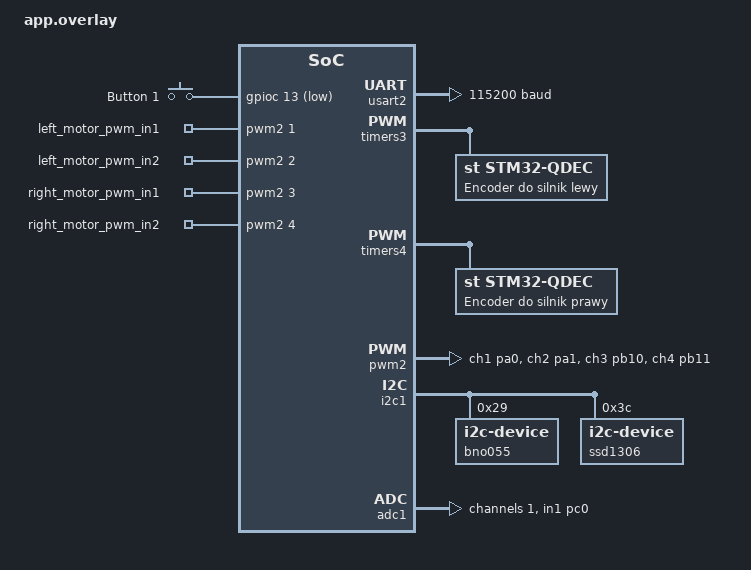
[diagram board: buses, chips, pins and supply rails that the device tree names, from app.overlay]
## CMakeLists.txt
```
cmake_minimum_required(VERSION 3.20)

#list(APPEND ZEPHYR_EXTRA_MODULES "/home/kubekpc/zephyrproject/modules/lib/micro_ros_zephyr_module/modules/libmicroros")

find_package(Zephyr REQUIRED HINTS $ENV{ZEPHYR_BASE})
project(lidar_robot_firmware)

target_include_directories(app PRIVATE include)


target_sources(app PRIVATE
    src/main.c
    # src/shared_data.h
    # src/task_motors.c
    # src/task_motors.h
    # src/task_imu.c
    # src/imu.c
    # src/imu.h
    # src/task_microros.c
    src/task_screen.c
    src/led_screen.c
    src/ringbuff.c
   
)

#target_link_libraries(app PRIVATE microros)
```

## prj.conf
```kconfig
# Podstawowa obsługa sprzętu (GPIO, PWM, I2C, Enkodery/Sensory)
CONFIG_GPIO=y
CONFIG_PWM=y
CONFIG_SENSOR=y
CONFIG_I2C=y

# Obsługa UART i bufora dla micro-ROS (KRYTYCZNE: obsługa przerwana UART)
CONFIG_SERIAL=y
CONFIG_UART_INTERRUPT_DRIVEN=y
CONFIG_RING_BUFFER=y

# Pamięć sterty (KRYTYCZNE: micro-ROS wymaga alokacji dynamicznej dla DDS)
CONFIG_HEAP_MEM_POOL_SIZE=16384

# Wymagana obsługa POSIX dla micro-ROS
# CONFIG_POSIX_API=y
# CONFIG_POSIX_CLOCK=y
# CONFIG_PTHREAD_IPC=y

# Wymagana obsługa konstruktorów GNU przez bibliotekę micro-ROS
CONFIG_STATIC_INIT_GNU=y

# Moduł micro-ROS
# CONFIG_MICROROS=y

# Formatowanie zmiennoprzecinkowych (float) w Libc
# CONFIG_NEWLIB_LIBC=y
CONFIG_CBPRINTF_FP_SUPPORT=y

# Wyłączenie konsoli Zephyra (aby nie zakłócać transmisji szeregowej micro-ROS)
CONFIG_CONSOLE=y
CONFIG_UART_CONSOLE=y
CONFIG_BOOT_BANNER=n
CONFIG_PRINTK=y

# Stos i pamięć wątków
CONFIG_MAIN_STACK_SIZE=8192
CONFIG_SYSTEM_WORKQUEUE_STACK_SIZE=4096
```

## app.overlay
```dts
/{

    chosen {
        zephyr,micro-ros-uart = &usart2;
    };

    aliases {
        pwm-left-in1 = &left_motor_pwm_in1;
        pwm-left-in2 = &left_motor_pwm_in2;
        pwm-right-in1 = &right_motor_pwm_in1;
        pwm-right-in2 = &right_motor_pwm_in2;
        encoder-left = &qdec_l;
        encoder-right = &qdec_r;
        imu = &bno055;
        screen = &ssd1306;

    };



    gpio_keys {
        compatible = "gpio-keys";
        button1: button1 {
            gpios = <&gpioc 13 GPIO_ACTIVE_LOW>;
            label = "Button 1";
            // linux,code = <28>;
        };
    };

    pwm_motors {

        compatible = "pwm-leds";

    left_motor_pwm_in1: left_in1 {
        pwms = <&pwm2 1 100000 PWM_POLARITY_NORMAL>;
    };

    left_motor_pwm_in2: left_in2 {
        pwms = <&pwm2 2 100000 PWM_POLARITY_NORMAL>;
    };

    right_motor_pwm_in1: right_in1 {
        pwms = <&pwm2 3 100000 PWM_POLARITY_NORMAL>;
    };

    right_motor_pwm_in2: right_in2 {
        pwms = <&pwm2 4 100000 PWM_POLARITY_NORMAL>;
    };
};
};

&usart2 {
    status = "okay";
    current-speed = <115200>;
};

&timers3 {
    status = "okay";

    pwm {
        status = "disabled";
    };

    qdec_l: encoder_left {
        compatible = "st,stm32-qdec";
        status = "okay";
        pinctrl-0 = <&tim3_ch1_pa6 &tim3_ch2_pa7>;
        pinctrl-names = "default";
        st,counts-per-revolution = <660>;
        label = "Encoder do silnik lewy";
    };
};
&timers4 {
    status = "okay";

    pwm {
        status = "disabled";
    };
    qdec_r: encoder_right {
        compatible = "st,stm32-qdec";
        status = "okay";
        pinctrl-0 = <&tim4_ch1_pb6 &tim4_ch2_pb7>;
        pinctrl-names = "default";
        st,counts-per-revolution = <660>;
        label = "Encoder do silnik prawy";
    };
};


&pwm2 {
    status = "okay";
    pinctrl-0 = <&tim2_ch1_pa0 &tim2_ch2_pa1 &tim2_ch3_pb10 &tim2_ch4_pb11>;
    pinctrl-names = "default";
};

&i2c1 {

    status = "okay";

    bno055: bno055@28 {
        compatible = "i2c-device";
        status = "okay";
        reg = <0x29>;
    };

    ssd1306: ssd1306@3c {
        compatible = "i2c-device";
        status = "okay";
        reg = <0x3C>;
    };

};

// posprawdzaj
&adc1 {
    status = "okay";
    pinctrl-0 = <&adc1_in1_pc0>;
    pinctrl-names = "default";

    #address-cells = <1>;
    #size-cells = <0>;

    adc_battery: channel@1 {
        reg = <1>;
        zephyr,gain = "ADC_GAIN_1";
        zephyr,reference = "ADC_REF_INTERNAL";
        zephyr,acquisition-time = <ADC_ACQ_TIME_DEFAULT>;
        zephyr,resolution = <12>;
    };
};


&spi1 {
    status = "disabled";
};

    &pinctrl {

    tim3_ch1_pa6: tim3_ch1_pa6 {
        bias-pull-up;
    };
    tim3_ch2_pa7: tim3_ch2_pa7 {
        bias-pull-up;
    };


    tim4_ch1_pb6: tim4_ch1_pb6 {
        bias-pull-up;
    };
    tim4_ch2_pb7: tim4_ch2_pb7 {
        bias-pull-up;
    };
};
```

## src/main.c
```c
#include <zephyr/kernel.h>
#include <zephyr/drivers/gpio.h>
#include <zephyr/drivers/pwm.h>
#include <zephyr/drivers/sensor.h>
#include <zephyr/devicetree.h>
#include <zephyr/drivers/i2c.h>
#include "shared_data.h"

//aliasy


const struct pwm_dt_spec pwm_left_in1 = PWM_DT_SPEC_GET(DT_ALIAS(pwm_left_in1));
const struct pwm_dt_spec pwm_left_in2 = PWM_DT_SPEC_GET(DT_ALIAS(pwm_left_in2));
const struct pwm_dt_spec pwm_right_in1 = PWM_DT_SPEC_GET(DT_ALIAS(pwm_right_in1));
const struct pwm_dt_spec pwm_right_in2 = PWM_DT_SPEC_GET(DT_ALIAS(pwm_right_in2));

 const struct device *const encoder_left = DEVICE_DT_GET(DT_ALIAS(encoder_left));
 const struct device *const encoder_right = DEVICE_DT_GET(DT_ALIAS(encoder_right));
 const struct i2c_dt_spec imu = I2C_DT_SPEC_GET(DT_ALIAS(imu));
 const struct i2c_dt_spec screen = I2C_DT_SPEC_GET(DT_ALIAS(screen));



 atomic_t robot_state = ATOMIC_INIT(STATE_OKAY); // inicjalizujemy stan poczatkowy robotaja na ok;

static const struct gpio_dt_spec led = GPIO_DT_SPEC_GET(DT_ALIAS(led0), gpios);

int main(void)
{
    // if (!pwm_is_ready_dt(&pwm_left_in1) || 
    // !pwm_is_ready_dt(&pwm_left_in2) || 
    // !pwm_is_ready_dt(&pwm_right_in1) || 
    // !pwm_is_ready_dt(&pwm_right_in2) || 
    // !device_is_ready(encoder_left) || 
    // !device_is_ready(encoder_right) || 
    // !i2c_is_ready_dt(&imu) || 
    // !i2c_is_ready_dt(&screen)) {

        
        return 0;
    }

    
  
   



//     return 0;
// }
```

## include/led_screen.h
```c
#ifndef LED_SCREEN_H
#define LED_SCREEN_H

#include <zephyr/drivers/i2c.h>
#include <stdint.h>
#include <stdbool.h>
#include <stddef.h>


typedef struct {
    struct i2c_dt_spec dev_i2c;
    uint8_t buffer[1024];
} ssd1306_t;


bool ssd1306_init(ssd1306_t *display);
void ssd1306_clear(ssd1306_t *display);
void ssd1306_update(ssd1306_t *display);
void ssd1306_draw_pixel(ssd1306_t *display, int x, int y, bool color);
void ssd1306_draw_string(ssd1306_t *display, int x, int y, const char *str,uint8_t scale);
void ssd1306_draw_bitmap(ssd1306_t *display, int x, int y, int w, int h, const uint8_t *bitmap);
void ssd1306_fill_rect(ssd1306_t *display, int x, int y, int width, int height);
void ssd1306_clear_area(ssd1306_t *display, int x, int y, uint8_t length, uint8_t width);
#endif
```

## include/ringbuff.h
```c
#include <stdbool.h>

#define BUFFER_SIZE 50

typedef struct
{
    int* rd_ptr;
    int* wr_ptr;
    int  arr[BUFFER_SIZE];
    bool is_full;
    int  sum;
} RingBuf;

void ring_buff_init(RingBuf *rb);
void ring_buff_write(RingBuf *rb, int value);
int avg_ring_buff(RingBuf *rb);
```

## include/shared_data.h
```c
#define V_MIN 3300
#define V_MAX 4200


typedef struct {
    float v_left_mps;  // predkosc lewego kola w metrach na sekunde
    float v_right_mps; // predkosc prawego kola w metrach na sekunde
    int32_t timestamp_ms;     // czas w milisekundach od uruchomienia programu
    int64_t acumulated_left_encoder_ticks;  // skumulowana liczba tickow z lewego enkodera
    int64_t acumulated_right_encoder_ticks; // skumulowana liczba tickow z prawego enkodera
    float motor_angular_speed;
    float robot_speed_mps;
    } motor_sample_t;


typedef struct {
    float yaw;
    float roll;
    float pitch;
} imu_sample_t;

typedef enum{
    STATE_OKAY = 0,
    STATE_TIPPED,
    STATE_SENSOR_ERROR,
    STATE_ROS_ERROR,
    STATE_MOTOR_FAULT,
    STATE_LOW_BATTERY,//jak dojdzie akus kiedys

} robot_state_t;

typedef struct 
{
   float v_left;
   float v_right;
} ros_data_t;
```

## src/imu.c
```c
#include "imu.h"

#define BNO055_REG_OPR_MODE   0x3D
#define BNO055_MODE_NDOF      0x0C
#define BNO055_REG_CALIB_STAT 0x35
#define BNO055_REG_EULER_BASE 0x1A

extern const struct i2c_dt_spec imu;




bool imu_turn_on(void)
{
 

uint8_t buffer[2] = {BNO055_REG_OPR_MODE, BNO055_MODE_NDOF};
int ret = i2c_write_dt(&imu, buffer, sizeof(buffer));
  if(ret != 0)
  {
    printk("FAILED TO TURN ON IMU\n");
    return false;
  }
  return true;
}

bool imu_if_ready(void)
{
  uint8_t reg_addr = BNO055_REG_CALIB_STAT;
  uint8_t calib_state = 0;

  int ret =  i2c_write_read_dt(&imu,&reg_addr,1, &calib_state, 1);

  if(ret!=0)
  {
    return false;
  }
  //0xFF czyli jesli wszystko dziala gyro,akcelerometr magnetrometr
  if(calib_state < 0xFF)
  {
    return true;
  }
  return false;
  //test
  return true;
}

bool imu_read_data(float *yaw, float *roll,float *pitch)
{
    uint8_t reg_addr = BNO055_REG_EULER_BASE;
    uint8_t data_buff[6] = {0};

    int ret = i2c_write_read_dt(&imu,&reg_addr,1,data_buff,6);

    if(ret !=0)
    {
        printk("FAILED TO WRITE/READ DATA I2C device adress\n");
        return false;
    }

    *yaw   = (float)((int16_t)((data_buff[1] << 8) | data_buff[0]))/16.0f;
    *roll  = (float)((int16_t)((data_buff[3] << 8) | data_buff[2]))/16.0f;
    *pitch = (float)((int16_t)((data_buff[5] << 8) | data_buff[4]))/16.0f;

    return true;
}
```

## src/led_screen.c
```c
#include "led_screen.h"
#include <string.h>

const uint8_t font5x7[][5] = {
    {0x00, 0x00, 0x00, 0x00, 0x00}, // 32: Spacja
    {0x00, 0x00, 0x5F, 0x00, 0x00}, // 33: !
    {0x00, 0x07, 0x00, 0x07, 0x00}, // 34: "
    {0x14, 0x7F, 0x14, 0x7F, 0x14}, // 35: #
    {0x24, 0x2A, 0x7F, 0x2A, 0x12}, // 36: $
    {0x23, 0x13, 0x08, 0x64, 0x62}, // 37: %
    {0x36, 0x49, 0x55, 0x22, 0x50}, // 38: &
    {0x00, 0x05, 0x03, 0x00, 0x00}, // 39: '
    {0x00, 0x1C, 0x22, 0x41, 0x00}, // 40: (
    {0x00, 0x41, 0x22, 0x1C, 0x00}, // 41: )
    {0x14, 0x08, 0x3E, 0x08, 0x14}, // 42: *
    {0x08, 0x08, 0x3E, 0x08, 0x08}, // 43: +
    {0x00, 0x50, 0x30, 0x00, 0x00}, // 44: ,
    {0x08, 0x08, 0x08, 0x08, 0x08}, // 45: -
    {0x00, 0x60, 0x60, 0x00, 0x00}, // 46: .
    {0x20, 0x10, 0x08, 0x04, 0x02}, // 47: /
    {0x3E, 0x51, 0x49, 0x45, 0x3E}, // 48: 0
    {0x00, 0x42, 0x7F, 0x40, 0x00}, // 49: 1
    {0x42, 0x61, 0x51, 0x49, 0x46}, // 50: 2
    {0x21, 0x41, 0x45, 0x4B, 0x31}, // 51: 3
    {0x18, 0x14, 0x12, 0x7F, 0x10}, // 52: 4
    {0x27, 0x45, 0x45, 0x45, 0x39}, // 53: 5
    {0x3C, 0x4A, 0x49, 0x49, 0x30}, // 54: 6
    {0x01, 0x71, 0x09, 0x05, 0x03}, // 55: 7
    {0x36, 0x49, 0x49, 0x49, 0x36}, // 56: 8
    {0x06, 0x49, 0x49, 0x29, 0x1E}, // 57: 9
    {0x00, 0x36, 0x36, 0x00, 0x00}, // 58: :
    {0x00, 0x56, 0x36, 0x00, 0x00}, // 59: ;
    {0x08, 0x14, 0x22, 0x41, 0x00}, // 60: <
    {0x14, 0x14, 0x14, 0x14, 0x14}, // 61: =
    {0x00, 0x41, 0x22, 0x14, 0x08}, // 62: >
    {0x02, 0x01, 0x51, 0x09, 0x06}, // 63: ?
    {0x32, 0x49, 0x79, 0x41, 0x3E}, // 64: @
    {0x7E, 0x11, 0x11, 0x11, 0x7E}, // 65: A
    {0x7F, 0x49, 0x49, 0x49, 0x36}, // 66: B
    {0x3E, 0x41, 0x41, 0x41, 0x22}, // 67: C
    {0x7F, 0x41, 0x41, 0x22, 0x1C}, // 68: D
    {0x7F, 0x49, 0x49, 0x49, 0x41}, // 69: E
    {0x7F, 0x09, 0x09, 0x09, 0x01}, // 70: F
    {0x3E, 0x41, 0x49, 0x49, 0x7A}, // 71: G
    {0x7F, 0x08, 0x08, 0x08, 0x7F}, // 72: H
    {0x00, 0x41, 0x7F, 0x41, 0x00}, // 73: I
    {0x20, 0x40, 0x41, 0x3F, 0x01}, // 74: J
    {0x7F, 0x08, 0x14, 0x22, 0x41}, // 75: K
    {0x7F, 0x40, 0x40, 0x40, 0x40}, // 76: L
    {0x7F, 0x02, 0x0C, 0x02, 0x7F}, // 77: M
    {0x7F, 0x04, 0x08, 0x10, 0x7F}, // 78: N
    {0x3E, 0x41, 0x41, 0x41, 0x3E}, // 79: O
    {0x7F, 0x09, 0x09, 0x09, 0x06}, // 80: P
    {0x3E, 0x41, 0x51, 0x21, 0x5E}, // 81: Q
    {0x7F, 0x09, 0x19, 0x29, 0x46}, // 82: R
    {0x46, 0x49, 0x49, 0x49, 0x31}, // 83: S
    {0x01, 0x01, 0x7F, 0x01, 0x01}, // 84: T
    {0x3F, 0x40, 0x40, 0x40, 0x3F}, // 85: U
    {0x1F, 0x20, 0x40, 0x20, 0x1F}, // 86: V
    {0x3F, 0x40, 0x38, 0x40, 0x3F}, // 87: W
    {0x63, 0x14, 0x08, 0x14, 0x63}, // 88: X
    {0x07, 0x08, 0x70, 0x08, 0x07}, // 89: Y
    {0x61, 0x51, 0x49, 0x45, 0x43}  // 90: Z
};

static void write_command(ssd1306_t *display, uint8_t cmd)
{
    uint8_t data_pack[2] = {0x00, cmd};
    i2c_write_dt(&display->dev_i2c, data_pack, 2);
}

static void write_data(ssd1306_t *display, uint8_t* data, size_t len)
{
    i2c_burst_write_dt(&display->dev_i2c, 0x40, data, len);
}

void ssd1306_clear(ssd1306_t *display)
{
    memset(display->buffer, 0, sizeof(display->buffer));
}

void ssd1306_update(ssd1306_t *display)
{   
    write_command(display, 0x21);
    write_command(display, 0x00);
    write_command(display, 0x7F);


    write_command(display, 0x22);
    write_command(display, 0x00);
    write_command(display, 0x07);

    write_data(display, display->buffer, sizeof(display->buffer));
}

bool ssd1306_init(ssd1306_t *display)
{
    if (!i2c_is_ready_dt(&display->dev_i2c)) {
        return false;
    }

    write_command(display, 0xAE); //Display OFF

    write_command(display, 0xD5); // Ustawienie zegara
    write_command(display, 0x80); // Domyślna wartość

    write_command(display, 0xA8); // rozdzielczość
    write_command(display, 0x3F); //

    write_command(display, 0xD3); // Przesunięcie ekranu
    write_command(display, 0x00); // Brak przesunięcia

    write_command(display, 0x40); // Ustawienie linii startowej na 0

    write_command(display, 0x8D); // Charge Pump
    write_command(display, 0x14); //

    write_command(display, 0x20); // Tryb adresowania pamięci
    write_command(display, 0x00); // 0x00 = Horizontal Addressing Mode
    write_command(display, 0xA1); // Odwrócenie osi X
    write_command(display, 0xC8); // Odwrócenie osi Y
    write_command(display, 0xDA); // Konfiguracja pinów
    write_command(display, 0x12); // 128x64

    write_command(display, 0x81); // Ustawienie kontrastu
    write_command(display, 0xCF);

    write_command(display, 0xD9); // Okres ładowania
    write_command(display, 0xF1);

    write_command(display, 0xDB); //  VCOMH
    write_command(display, 0x40);

    write_command(display, 0xA4); // Używaj zawartości RAMdwyświetlania obrazu
    write_command(display, 0xA6); // Normalny tryb wyświetlania

    // 3. Wyczyszczenie bufora i wysłanie go do ekranu,
    ssd1306_clear(display);
    ssd1306_update(display);

    // 4. włączenie matrycy
    write_command(display, 0xAF); // Włącz ekran (Display ON)
    
    return true;
}

void ssd1306_draw_pixel(ssd1306_t *display, int x, int y, bool color)
{
    if (x < 0 || x >= 128 || y < 0 || y >= 64) {
        return;
    }
    int index = x + (y / 8) * 128;
        
    uint8_t bit = y % 8;

    if (color) {
        display->buffer[index] |= (1 << bit);  
    } else {
        display->buffer[index] &= ~(1 << bit);
    }
}

void ssd1306_draw_string(ssd1306_t *display, int x, int y, const char* str,uint8_t scale)
{
    int current_x = x;
    while(*str != '\0')
    {
        char c = *str;
        
        if(c >= 32 && c <= 90)
        {
            int font_ind = c - 32;

            for(int col = 0; col < 5; col++)
            {
                uint8_t col_data = font5x7[font_ind][col];
                
                for(int row = 0; row < 7; row++)
                {
                    if(col_data & (1<<row)) // kolor
                    {
                        for(uint8_t sx = 0;sx< scale; sx++)
                        {
                            for(uint8_t sy = 0;sy < scale; sy++)
                            {
                                uint8_t pixel_x = current_x + (col * scale) + sx;
                                uint8_t pixel_y = y + (row * scale) + sy;
                        
                            ssd1306_draw_pixel(display, pixel_x, pixel_y, true);
                            }
                        }
                    }
                
                }
            }
            current_x += 6*scale; // 
        }
        str++;
    }
    //iteruje sie bo string wyciagajac chara
 //dopoki w char nie dojde do konca 
 // biore chara i odejmuje od niego 32 zagladam do tablicy 
 // petla w petli x piec razy i wypisuje w kadym przebiegu y jak wypisze juz do konca znak to dodaje do x +1zeby zrobic odstep
}

void ssd1306_draw_bitmap(ssd1306_t *display, int x, int y, int w, int h, const uint8_t* bitmap) 
{
    int byte_width = (w + 7) / 8; 
    
    for (int row = 0; row < h; row++) {
        for (int col = 0; col < w; col++) {
            
            uint8_t data = bitmap[row * byte_width + (col / 8)];
         
            if (data & (1 << (7 - (col % 8)))) {
                ssd1306_draw_pixel(display, x + col, y + row, true);
            } else {
                ssd1306_draw_pixel(display, x + col, y + row, false); 
            }
        }
    }
}

void ssd1306_clear_area(ssd1306_t *display, int x, int y, uint8_t length, uint8_t width)
{
    for(int l = 0;l<length;l++)
    {
        for(int w = 0;w<width;w++)
        {
            ssd1306_draw_pixel(display,x+l,w+y,false);
        }
    }

}

void ssd1306_fill_rect(ssd1306_t *display, int x, int y, int length, int width)
{
    for(int dx=0 ;dx<length; dx++ )
    {
        for(int dy = 0; dy < width; dy++)
        {
            ssd1306_draw_pixel(display, dx + x, y + dy, true);
        }
    }
}
```

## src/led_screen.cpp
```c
#include "led_screen.hpp"
#include <cstring>



 void SD1306::writeCommand(uint8_t cmnd)
 {
    uint8_t data_pack = {0x00 , cmd};
    i2c_read_dt(&dev_i2c,packet,2);
 }

 void SD1306::writeData(uint8_t* data,size_t len)
 {
    uint8_t data_pack = {0x00 , data};
    i2c_burst_write_dt(&dev_i2c, 0x40, data, len);
 }

 void SD1306::clear()
{
    memset(buffer, 0, sizeof(buffer));
}

void SD1306::update()
{
    writeData(buffer, sizeof(buffer));
}

  bool SD1306::init()
  {

      if (!i2c_is_ready_dt(&dev_i2c)) {
        return false; 
    }
   
    writeCommand(0xAE); //Display OFF

    writeCommand(0xD5); // Ustawienie zegara 
    writeCommand(0x80); // Domyślna wartość

    writeCommand(0xA8); // rozdzielczość
    writeCommand(0x3F); //

    writeCommand(0xD3); // Przesunięcie ekranu 
    writeCommand(0x00); // Brak przesunięcia

    writeCommand(0x40); // Ustawienie linii startowej na 0

    writeCommand(0x8D); // Charge Pump
    writeCommand(0x14); // 

    writeCommand(0x20); // Tryb adresowania pamięci 
    writeCommand(0x00); // 0x00 = Horizontal Addressing Mode 
    writeCommand(0xA1); // Odwrócenie osi X 
    writeCommand(0xC8); // Odwrócenie osi Y 
    writeCommand(0xDA); // Konfiguracja pinów 
    writeCommand(0x12); // 128x64

    writeCommand(0x81); // Ustawienie kontrastu
    writeCommand(0xCF); 

    writeCommand(0xD9); // Okres ładowania 
    writeCommand(0xF1);

    writeCommand(0xDB); //  VCOMH
    writeCommand(0x40);

    writeCommand(0xA4); // Używaj zawartości RAMdwyświetlania obrazu
    writeCommand(0xA6); // Normalny tryb wyświetlania 

    // 3. Wyczyszczenie bufora i wysłanie go do ekranu,
    clear();
    update();

    // 4. Finalne włączenie matrycy
    writeCommand(0xAF); // Włącz ekran (Display ON)
    
}

 void SD1306::drawPixel(int x, int y, bool color)
 {

    if (x < 0 || x >= 128 || y < 0 || y >= 64) {
        return; 
    }
    int index = x + (y / 8) * 128;
        
    uint8_t bit = y % 8;

    // 4. Modulo na bitach
    if (color) {
        buffer[index] |= (1 << bit);  
    } else {
        buffer[index] &= ~(1 << bit); 
}

const uint8_t font5x7[][5] = {
    {0x00, 0x00, 0x00, 0x00, 0x00}, // 32: Spacja
    {0x00, 0x00, 0x5F, 0x00, 0x00}, // 33: !
    {0x00, 0x07, 0x00, 0x07, 0x00}, // 34: "
    {0x14, 0x7F, 0x14, 0x7F, 0x14}, // 35: #
    {0x24, 0x2A, 0x7F, 0x2A, 0x12}, // 36: $
    {0x23, 0x13, 0x08, 0x64, 0x62}, // 37: %
    {0x36, 0x49, 0x55, 0x22, 0x50}, // 38: &
    {0x00, 0x05, 0x03, 0x00, 0x00}, // 39: '
    {0x00, 0x1C, 0x22, 0x41, 0x00}, // 40: (
    {0x00, 0x41, 0x22, 0x1C, 0x00}, // 41: )
    {0x14, 0x08, 0x3E, 0x08, 0x14}, // 42: *
    {0x08, 0x08, 0x3E, 0x08, 0x08}, // 43: +
    {0x00, 0x50, 0x30, 0x00, 0x00}, // 44: ,
    {0x08, 0x08, 0x08, 0x08, 0x08}, // 45: -
    {0x00, 0x60, 0x60, 0x00, 0x00}, // 46: .
    {0x20, 0x10, 0x08, 0x04, 0x02}, // 47: /
    {0x3E, 0x51, 0x49, 0x45, 0x3E}, // 48: 0
    {0x00, 0x42, 0x7F, 0x40, 0x00}, // 49: 1
    {0x42, 0x61, 0x51, 0x49, 0x46}, // 50: 2
    {0x21, 0x41, 0x45, 0x4B, 0x31}, // 51: 3
    {0x18, 0x14, 0x12, 0x7F, 0x10}, // 52: 4
    {0x27, 0x45, 0x45, 0x45, 0x39}, // 53: 5
    {0x3C, 0x4A, 0x49, 0x49, 0x30}, // 54: 6
    {0x01, 0x71, 0x09, 0x05, 0x03}, // 55: 7
    {0x36, 0x49, 0x49, 0x49, 0x36}, // 56: 8
    {0x06, 0x49, 0x49, 0x29, 0x1E}, // 57: 9
    {0x00, 0x36, 0x36, 0x00, 0x00}, // 58: :
    {0x00, 0x56, 0x36, 0x00, 0x00}, // 59: ;
    {0x08, 0x14, 0x22, 0x41, 0x00}, // 60: <
    {0x14, 0x14, 0x14, 0x14, 0x14}, // 61: =
    {0x00, 0x41, 0x22, 0x14, 0x08}, // 62: >
    {0x02, 0x01, 0x51, 0x09, 0x06}, // 63: ?
    {0x32, 0x49, 0x79, 0x41, 0x3E}, // 64: @
    {0x7E, 0x11, 0x11, 0x11, 0x7E}, // 65: A
    {0x7F, 0x49, 0x49, 0x49, 0x36}, // 66: B
    {0x3E, 0x41, 0x41, 0x41, 0x22}, // 67: C
    {0x7F, 0x41, 0x41, 0x22, 0x1C}, // 68: D
    {0x7F, 0x49, 0x49, 0x49, 0x41}, // 69: E
    {0x7F, 0x09, 0x09, 0x09, 0x01}, // 70: F
    {0x3E, 0x41, 0x49, 0x49, 0x7A}, // 71: G
    {0x7F, 0x08, 0x08, 0x08, 0x7F}, // 72: H
    {0x00, 0x41, 0x7F, 0x41, 0x00}, // 73: I
    {0x20, 0x40, 0x41, 0x3F, 0x01}, // 74: J
    {0x7F, 0x08, 0x14, 0x22, 0x41}, // 75: K
    {0x7F, 0x40, 0x40, 0x40, 0x40}, // 76: L
    {0x7F, 0x02, 0x0C, 0x02, 0x7F}, // 77: M
    {0x7F, 0x04, 0x08, 0x10, 0x7F}, // 78: N
    {0x3E, 0x41, 0x41, 0x41, 0x3E}, // 79: O
    {0x7F, 0x09, 0x09, 0x09, 0x06}, // 80: P
    {0x3E, 0x41, 0x51, 0x21, 0x5E}, // 81: Q
    {0x7F, 0x09, 0x19, 0x29, 0x46}, // 82: R
    {0x46, 0x49, 0x49, 0x49, 0x31}, // 83: S
    {0x01, 0x01, 0x7F, 0x01, 0x01}, // 84: T
    {0x3F, 0x40, 0x40, 0x40, 0x3F}, // 85: U
    {0x1F, 0x20, 0x40, 0x20, 0x1F}, // 86: V
    {0x3F, 0x40, 0x38, 0x40, 0x3F}, // 87: W
    {0x63, 0x14, 0x08, 0x14, 0x63}, // 88: X
    {0x07, 0x08, 0x70, 0x08, 0x07}, // 89: Y
    {0x61, 0x51, 0x49, 0x45, 0x43}  // 90: Z
};
    
}
void SD1306::drawstring(int x,int y, char* str)
{
    int current_x = x;
    while(*str != "\0")
    {
        char c = *str;
    }
    if(c >= 32 || c<=90)
    {
        int font_ind = c -32;

        for(int col =0;col<5;col++)
        {
            uint8_t col_data = font5x7[font_ind][col];
            
            for(int row=0; row <8; row++)
            {
                if(col_data & (1<<row)) // kolor
                {
                    drawPixel(current_x + col,y+row,true);
                }
                else
                {
                    drawPixel(current_x+ col, y+ row,false);
                }
            }
            current_x + 6; // 5 przesunieca(liczba) + 1( na odstep);

            str++
        }
    }
    //iteruje sie bo string wyciagajac chara
 //dopoki w char nie dojde do konca 
 // biore chara i odejmuje od niego 32 zagladam do tablicy 
 // petla w petli x piec razy i wypisuje w kadym przebiegu y jak wypisze juz do konca znak to dodaje do x +1zeby zrobic odstep
}


void SSD1306::drawBitmap(int x, int y, int w, int h, const uint8_t* bitmap) {
   
    int byte_width = (w + 7) / 8; 
    
    for (int row = 0; row < h; row++) {
        for (int col = 0; col < w; col++) {
            
            uint8_t data = bitmap[row * byte_width + (col / 8)];
         
            if (data & (1 << (7 - (col % 8)))) {
                drawPixel(x + col, y + row, true);
            } else {
              
                drawPixel(x + col, y + row, false); 
            }
        }
    }
}
void SSD1306::fillRectangle(int x,int y,int length,int width)
{
    

    for(int col = 0; col < length; col++)
    {
        
    }
}
```

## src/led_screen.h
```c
#ifndef LED_SCREEN_H
#define LED_SCREEN_H

#include <zephyr/drivers/i2c.h>
#include <stdint.h>
#include <stdbool.h>
#include <stddef.h>


typedef struct {
    struct i2c_dt_spec dev_i2c;
    uint8_t buffer[1024];
} ssd1306_t;


bool ssd1306_init(ssd1306_t *display);
void ssd1306_clear(ssd1306_t *display);
void ssd1306_update(ssd1306_t *display);
void ssd1306_draw_pixel(ssd1306_t *display, int x, int y, bool color);
void ssd1306_draw_string(ssd1306_t *display, int x, int y, const char *str);
void ssd1306_draw_bitmap(ssd1306_t *display, int x, int y, int w, int h, const uint8_t *bitmap);
void ssd1306_fill_rect(ssd1306_t *display, int x, int y, int width, int height);

#endif
```

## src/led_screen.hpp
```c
#include <zephyr/drivers/i2c.h>

class SD1306 {
    private:
        const struct i2c_dt_spec dev_i2c;
        uint8_t buffer[1024];

        void writeCommand(uint8_t cmnd);
        void writeData(uint8_t* data,size_t len);

    public:
        SSD1306(cosnt struct i2c_dt_spec& i2c_dev): dev_i2c(i2c_dev) {}

        bool init();
        void clear();
        void drawPixel(int x, int, bool color);
        void update();
        void drawstring(int x,int y, string c);
        void drawBitmap(int x,int y,int w,int y, const uint8_t* bitmap);
        void fillRectangle(int x,int y,int length,int width);

};
```

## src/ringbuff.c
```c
#include "ringbuff.h"


void ring_buff_write(RingBuf *rb,int value)
{
    if(rb->is_full)
    {
        rb->rd_ptr +=1;
        rb->sum -= *(rb->wr_ptr);
    }
    rb->sum += value;

    *(rb->wr_ptr) = value;
    rb->wr_ptr +=1;


    if(rb->rd_ptr > &rb->arr[BUFFER_SIZE -1 ])
    {
        rb->rd_ptr = &rb->arr[0];
    }
    
    if(rb->wr_ptr > &rb->arr[BUFFER_SIZE -1 ])
    {
        rb->wr_ptr = &rb->arr[0];
    }
    if(rb->wr_ptr == rb->rd_ptr)
    {
        rb->is_full = true;
    }
}

int avg_ring_buff(RingBuf *rb)
{
    int current_size;

    if(rb->is_full)
    {
        current_size = BUFFER_SIZE;
    }
    else
    {
        current_size = rb->wr_ptr - rb->arr;
    }
    if(current_size == 0)
    {
        return 0;
    }
    
    return rb->sum / current_size;
}

void ring_buff_init(RingBuf *rb)
{
    rb->rd_ptr = &rb->arr[0];
    rb->wr_ptr = &rb->arr[0];
    rb->is_full = false;
    rb->sum = 0;
}
```

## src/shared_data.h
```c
typedef struct {
    float v_left_mps;  // predkosc lewego kola w metrach na sekunde
    float v_right_mps; // predkosc prawego kola w metrach na sekunde
    int32_t timestamp_ms;     // czas w milisekundach od uruchomienia programu
    int64_t acumulated_left_encoder_ticks;  // skumulowana liczba tickow z lewego enkodera
    int64_t acumulated_right_encoder_ticks; // skumulowana liczba tickow z prawego enkodera
    float motor_angular_speed;
    float robot_speed_mps;
    } motor_sample_t;


typedef struct {
    float yaw;
    float roll;
    float pitch;
} imu_sample_t;

typedef enum{
    STATE_OKAY = 0,
    STATE_TIPPED,
    STATE_SENSOR_ERROR,
    STATE_ROS_ERROR,
    STATE_MOTOR_FAULT,
    STATE_LOW_BATTERY,//jak dojdzie akus kiedys

} robot_state_t;

typedef struct 
{
   float v_left;
   float v_right;
} ros_data_t;
```

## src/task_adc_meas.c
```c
#define TASK_TIME_SAMPLE_MS 100
#define V_MIN 9000
#define V_MAX 12600

#include <zephyr/kernel.h>
#include <zephyr/drivers/adc.h>
#include "ringbuff.h"
#include "shared_data.h"

void task_imu(void *arg1,void *arg2,void *arg3);

K_THREAD_DEFINE(adc_thread_id, STACK_SIZE, task_adc_meas, NULL, NULL, NULL, PRIORITY, 0, 0);

extern atomic_t robot_state;

//LUT
typedef struct {
    uint16_t voltage_mv;
    uint8_t percentage;
} lipo_lut_t;

const lipo_lut_t bashing3s_lut[] =
{
    {12600, 100}, // 4.20V 
    {12300, 90},  // 4.10V 
    {11700, 70},  // 3.90V 
    {11400, 60},  // 3.80V  
    {11100, 40},  // 3.70V 
    {10800, 20},  // 3.60V
    {10500, 10},  // 3.50V 
    {9900,  5},   // 3.30V  
    {9600,  0}    // 3.20V  CUTOFF 
};

int batterry_percentege_lut(int actual_mv_bat, lipo_lut_t* bashing_lut)
{
    if (actual_mv_bat >= lut[0].voltage_mv) {
        return lut[0].percentage;
    }

    if (actual_mv_bat <= lut[lut_size - 1].voltage_mv) {
        return lut[lut_size - 1].percentage;
    }
    
    for (size_t i = 0; i < lut_size - 1; i++) {

            uint16_t v_high = lut[i].voltage_mv;
            uint16_t v_low  = lut[i + 1].voltage_mv;

            if (actual_mv_bat <= v_high &&
                actual_mv_bat >= v_low) {

                uint8_t p_high = lut[i].percentage;
                uint8_t p_low  = lut[i + 1].percentage;

                uint16_t v_diff = v_high - v_low;
                uint8_t p_diff = p_high - p_low;

                uint8_t exact_percentage = p_low + ((actual_mv_bat - v_low) * p_diff) / v_diff;

                return exact_percentage;
            }
        }
    
}

#define LUT_SIZE (sizeof(bashing3s_lut) / sizeof(bashing3s_lut[0]))



// mam dzielnik 33k 10k
int actual_battery_mv(int avg)
{
    return ( (avg*3300)/4095 * 43 / 10 )
}



void task_adc_meas(void *arg1, void *arg2, void *arg3)
{
   
    static const struct adc_dt_spec adc_channel = ADC_DT_SPEC_GET(DT_NODELABEL(adc_battery));

    int err;
    uint16_t buf; 

    if (!adc_is_ready_dt(&adc_channel)) {
    
        return; 
    }


    err = adc_channel_setup_dt(&adc_channel);
    if (err < 0) {
        
        return; 
    }

    struct adc_sequence sequence = {
        .buffer = &buf,
        .buffer_size = sizeof(buf),
    };
  
    adc_sequence_init_dt(&adc_channel, &sequence); 

    //buffer

    RingBuf battery_buff;

    ring_buff_init(&battery_buff);

    uint8_t batterry_percentege;
    

  
    for(;;) {
     
        err = adc_read_dt(&adc_channel, &sequence);
        
        if (err == 0) {
          ring_buff_write(&battery_buff, buf);
          
        batterry_percentege = batterry_percentege_lut(actual_battery_mv(avg_ring_buff(&battery_buff)));

          if(batterry_percentege < 5)
          {
            atomic_set(&robot_state, STATE_LOW_BATTERY);
          }
        
         
        }

        k_msleep(100); 
    }
}
```

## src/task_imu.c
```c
#define  STACK_SIZE 1024
#define PRIORITY 4
#define SAMPLE_PERIOD_MS 10

#include <zephyr/kernel.h>
#include <zephyr/drivers/gpio.h>
#include <zephyr/drivers/sensor.h>
#include "shared_data.h"
#include <zephyr/drivers/i2c.h>

#include "imu.h"


//robot state
extern atomic_t robot_state;

//thread definition
void task_imu(void *arg1,void *arg2,void *arg3);

//task definition
// K_THREAD_DEFINE(imu_thread_id, STACK_SIZE, task_imu, NULL, NULL, NULL, PRIORITY, 0, 0);

//timer to better synchronize
K_TIMER_DEFINE(imu_sample_timer,NULL,NULL);

//i2c struct
extern const struct i2c_dt_spec imu;

//queue definition
K_MSGQ_DEFINE(imu_msg, sizeof(imu_sample_t), 5, 4);


void task_imu(void *arg1,void *arg2,void *arg3)
{

    imu_sample_t imu_data = {0};

    k_msleep(50);

    k_timer_start(&imu_sample_timer, K_MSEC(SAMPLE_PERIOD_MS), K_MSEC(SAMPLE_PERIOD_MS));

    //variables to store imu data (yaw,pitch,roll)
    float yaw = 0.0f;
    float pitch = 0.0f;
    float roll = 0.0f;

    if(!imu_turn_on())
    {
      //doda sie state machine ogolnie 
      // printk("Blad wlaczenia czujnika!\n");
    }

     
    
   

    

    for(;;)
    {
        
      if(imu_if_ready()){
      
          if(imu_read_data(&yaw,&roll,&pitch))
      {
          imu_data.yaw = yaw;
          imu_data.roll = roll;
          imu_data.pitch = pitch;

          if(abs(roll)>30.0f || abs(pitch)>30.0f)
          {
          //zmiana statusu na error i wylaczenie silnikow w ten sposob
            atomic_set(&robot_state, STATE_TIPPED);
          }
          else
          {
            //zmiana statusu jak bedzie git
            atomic_set(&robot_state, STATE_OKAY);
          }
          


           if(k_msgq_put(&imu_msg,&imu_data,K_NO_WAIT)==0)
           {
            //udalo sie
           }
           else
           {
            //przepelnione naprzyklad
           }
           
    }
  }
   
    
    k_timer_status_sync(&imu_sample_timer);
  }
 
}
```
